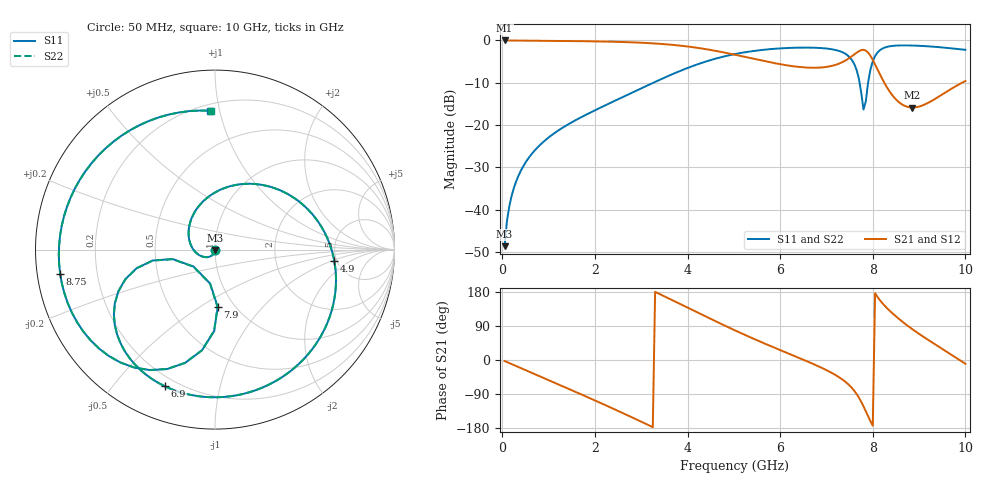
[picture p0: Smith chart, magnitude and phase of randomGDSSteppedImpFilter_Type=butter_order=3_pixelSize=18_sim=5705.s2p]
! freq	dB(S11)	phase(S11)	dB(S12)	phase(S12)
!  dB(S21)	phase(S21)	dB(S22)	phase(S22)
!S-par simulation data
#  GHz  S  DB  R 50
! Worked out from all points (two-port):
!   200 points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, 50 MHz to 10 GHz, reference 50 ohm
!   highest |S21| = -0.01 dB at 50 MHz (marker M1); lowest = -15.9 dB at 8.85 GHz (marker M2)
!   |S21| within 3 dB of the highest: start of sweep to 4.859 GHz; 7.638 GHz to 7.908 GHz (269.9 MHz wide, 3.47 % of centre)
!   lowest |S11| = -48.7 dB at 50 MHz (marker M3), VSWR 1.01, Z = 50 - j0.368 ohm
!   |S11| at or under -10 dB: start of sweep to 3.263 GHz; 7.715 GHz to 7.899 GHz (184 MHz wide, 2.36 % of centre)
!   |S22| runs from -48.7 to -1.2 dB; largest |S21 - S12| = 0
!   S11 on the Smith chart (normalised r, x): 50 MHz: 1.00, -0.01; 4.9 GHz: 4.76, -1.08; 6.9 GHz: 0.15, -0.69; 7.9 GHz: 0.84, -0.60; 8.75 GHz: 0.07, -0.08; 10 GHz: 0.24, +0.93
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0.05  -48.67 -86.8  -0.01 -2.7  -0.01 -2.7  -48.67 -86.8
0.2  -36.83 -99.4  -0.02 -10.7  -0.02 -10.7  -36.83 -99.4
0.5  -28.92 -116.7  -0.04 -26.5  -0.04 -26.5  -28.92 -116.8
1.75  -17.90 175.5  -0.18 -93.1  -0.18 -93.1  -17.90 175.2
2.7  -12.89 123.1  -0.41 -145.6  -0.41 -145.6  -12.89 122.8
3.4  -9.31 82.7  -0.80 174.0  -0.80 174.0  -9.31 82.5
4.2  -5.71 35.3  -1.73 126.3  -1.73 126.3  -5.71 35.2
4.9  -3.51 -5.4  -3.10 85.2  -3.10 85.2  -3.51 -5.5
5.05  -3.17 -13.8  -3.44 76.7  -3.44 76.7  -3.17 -13.9
5.95  -1.92 -61.4  -5.52 28.7  -5.52 28.7  -1.92 -61.4
6.7  -1.71 -99.3  -6.47 -9.7  -6.47 -9.7  -1.71 -99.3
6.9  -1.82 -110.1  -6.40 -20.8  -6.40 -20.8  -1.82 -110.1
7.5  -3.97 -151.8  -4.12 -67.5  -4.12 -67.5  -3.97 -151.7
7.65  -6.96 -166.7  -2.91 -89.6  -2.91 -89.6  -6.95 -166.5
7.8  -16.34 -141.9  -2.22 -122.4  -2.22 -122.4  -16.27 -141.8
7.9  -9.88 -87.3  -2.88 -148.8  -2.88 -148.8  -9.87 -87.5
8.1  -2.89 -111.9  -6.80 166.8  -6.80 166.8  -2.89 -112.0
8.35  -1.42 -139.5  -11.85 131.7  -11.85 131.7  -1.42 -139.6
8.75  -1.18 -171.0  -15.72 90.7  -15.72 90.7  -1.18 -171.1
8.85  -1.20 -178.1  -15.87 81.6  -15.87 81.6  -1.20 -178.3
9.35  -1.52 145.1  -13.80 41.1  -13.80 41.1  -1.52 144.9
10  -2.22 92.1  -9.61 -10.0  -9.61 -10.0  -2.22 91.7
